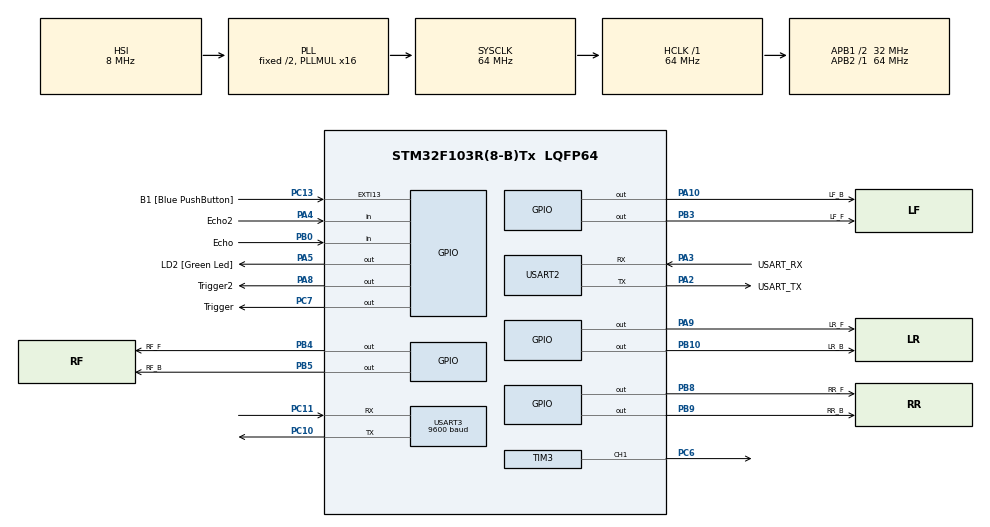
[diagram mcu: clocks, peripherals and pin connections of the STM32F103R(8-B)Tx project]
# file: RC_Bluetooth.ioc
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FREERTOS.Queues01=motorQueue,5,uint16_t,0,Dynamic,NULL,NULL
FREERTOS.Tasks01=UltrasonicTask,-2,128,StartUltrasonicTask,Default,NULL,Dynamic,NULL,NULL;BluetoothTask,1,128,StartBluetoothTask,Default,NULL,Dynamic,NULL,NULL;MotorTask,2,128,StartMotorTask,Default,NULL,Dynamic,NULL,NULL;MultiTask,-1,128,StartMultiTask,Default,NULL,Dynamic,NULL,NULL
Mcu.Family=STM32F1
Mcu.Name=STM32F103R(8-B)Tx
Mcu.Package=LQFP64
NVIC.EXTI15_10_IRQn=true\:5\:0\:false\:false\:true\:true\:true\:true\:true
NVIC.PriorityGroup=NVIC_PRIORITYGROUP_4
NVIC.USART2_IRQn=true\:5\:0\:false\:false\:true\:true\:true\:true\:true
NVIC.USART3_IRQn=true\:5\:0\:false\:false\:true\:true\:true\:true\:true
PA10.GPIO_Label=LF_B
PA10.Signal=GPIO_Output
PA13.GPIO_Label=TMS
PA13.Mode=Serial_Wire
PA13.Signal=SYS_JTMS-SWDIO
PA14.GPIO_Label=TCK
PA14.Mode=Serial_Wire
PA14.Signal=SYS_JTCK-SWCLK
PA2.GPIO_Label=USART_TX
PA2.GPIO_Mode=GPIO_MODE_AF_PP
PA2.GPIO_PuPd=GPIO_NOPULL
PA2.GPIO_Speed=GPIO_SPEED_FREQ_LOW
PA2.Mode=Asynchronous
PA2.Signal=USART2_TX
PA3.GPIO_Label=USART_RX
PA3.GPIO_Mode=GPIO_MODE_AF_PP
PA3.GPIO_PuPd=GPIO_NOPULL
PA3.GPIO_Speed=GPIO_SPEED_FREQ_LOW
PA3.Mode=Asynchronous
PA3.Signal=USART2_RX
PA4.GPIO_Label=Echo2
PA4.Signal=GPIO_Input
PA5.GPIO_Label=LD2 [Green Led]
PA5.GPIO_ModeDefaultOutputPP=GPIO_MODE_OUTPUT_PP
PA5.GPIO_PuPd=GPIO_NOPULL
PA5.GPIO_Speed=GPIO_SPEED_FREQ_LOW
PA5.Signal=GPIO_Output
PA8.GPIO_Label=Trigger2
PA8.Signal=GPIO_Output
PA9.GPIO_Label=LR_F
PA9.Signal=GPIO_Output
PB0.GPIO_Label=Echo
PB0.Signal=GPIO_Input
PB10.GPIO_Label=LR_B
PB10.Signal=GPIO_Output
PB3.GPIO_Label=LF_F
PB3.Signal=GPIO_Output
PB4.GPIO_Label=RF_F
PB4.Signal=GPIO_Output
PB5.GPIO_Label=RF_B
PB5.Signal=GPIO_Output
PB8.GPIO_Label=RR_F
PB8.Signal=GPIO_Output
PB9.GPIO_Label=RR_B
PB9.Signal=GPIO_Output
PC0.Signal=ADCx_IN10
PC10.Mode=Asynchronous
PC10.Signal=USART3_TX
PC11.Mode=Asynchronous
PC11.Signal=USART3_RX
PC13-TAMPER-RTC.GPIO_Label=B1 [Blue PushButton]
PC13-TAMPER-RTC.GPIO_PuPd=GPIO_NOPULL
PC13-TAMPER-RTC.Signal=GPXTI13
PC14-OSC32_IN.Signal=RCC_OSC32_IN
PC15-OSC32_OUT.Signal=RCC_OSC32_OUT
PC6.Signal=S_TIM3_CH1
PC7.GPIO_Label=Trigger
PC7.Signal=GPIO_Output
PD0-OSC_IN.Signal=RCC_OSC_IN
PD1-OSC_OUT.Signal=RCC_OSC_OUT
ProjectManager.HeapSize=0x200
ProjectManager.StackSize=0x400
ProjectManager.TargetToolchain=STM32CubeIDE
RCC.ADCPresc=RCC_ADCPCLK2_DIV6
RCC.AHBFreq_Value=64000000
RCC.APB1CLKDivider=RCC_HCLK_DIV2
RCC.APB1Freq_Value=32000000
RCC.APB1TimFreq_Value=64000000
RCC.APB2Freq_Value=64000000
RCC.APB2TimFreq_Value=64000000
RCC.DATA_CACHE_ENABLE=1
RCC.HCLKFreq_Value=64000000
RCC.INSTRUCTION_CACHE_ENABLE=1
RCC.LSE_Drive_CapabilityArg=+LSE_Drive_Capability
RCC.MSIAutoCalibration=DISABLED
RCC.MSICalibrationValue=0
RCC.PLLMUL=RCC_PLL_MUL16
RCC.PWR_Regulator_Voltage_Scale=PWR_REGULATOR_VOLTAGE_SCALE1
RCC.RTCClockSelection=RCC_RTCCLKSOURCE_LSE
RCC.SYSCLKFreq_VALUE=64000000
RCC.SYSCLKSource=RCC_SYSCLKSOURCE_PLLCLK
RCC.USBFreq_Value=64000000
SH.ADCx_IN10.0=ADC1_IN10
SH.S_TIM3_CH1.0=TIM3_CH1,PWM Generation1 CH1
TIM1.Period=65535
TIM1.Prescaler=64-1
TIM3.Channel-PWM\ Generation1\ CH1=TIM_CHANNEL_1
TIM3.Prescaler=64-1
USART2.VirtualMode=VM_ASYNC
USART3.BaudRate=9600
USART3.VirtualMode=VM_ASYNC
VP_FREERTOS_VS_CMSIS_V1.Mode=CMSIS_V1
VP_TIM1_VS_ClockSourceINT.Mode=Internal
VP_TIM3_VS_ClockSourceINT.Mode=Internal
board=NUCLEO-F103RB

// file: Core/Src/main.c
/* USER CODE BEGIN Header */
/**
 ******************************************************************************
 * @file           : main.c
 * @brief          : Main program body
 ******************************************************************************
 * @attention
 *
 * Copyright (c) 2025 STMicroelectronics.
 * All rights reserved.
 *
 * This software is licensed under terms that can be found in the LICENSE file
 * in the root directory of this software component.
 * If no LICENSE file comes with this software, it is provided AS-IS.
 *
 ******************************************************************************
 */
/* USER CODE END Header */
#include "main.h"
#include "cmsis_os.h"

/* USER CODE BEGIN Includes */
#include <stdio.h>
#include <string.h>
#include <stdlib.h>

/* USER CODE END Includes */

/* USER CODE BEGIN PTD */
typedef union {
    struct {
        uint8_t b;
        uint8_t r;
        uint8_t g;
    } color;
    uint32_t data;
} PixelRGB_t;
/* USER CODE END PTD */

/* USER CODE BEGIN PD */
#define MAX_DISTANCE 400 // HC-SR04의 유효 최대 거리 (cm)
#define MIN_DISTANCE 30 // 멈추는 거리

#define NOTE_F_freq  262 // 부저음 - 앞 c4
#define NOTE_B_freq  440    //뒤 A4
#define NOTE Duration 500

/* USER CODE END PD */

TIM_HandleTypeDef htim1;
TIM_HandleTypeDef htim3;

UART_HandleTypeDef huart2;
UART_HandleTypeDef huart3;

osThreadId UltrasonicTaskHandle;
osThreadId BluetoothTaskHandle;
osThreadId MotorTaskHandle;
osThreadId MultiTaskHandle;
osMessageQId motorQueueHandle;
/* USER CODE BEGIN PV */

// --- 전역 변수 ---
uint8_t rx3_data;
uint8_t rx2_data;
volatile char g_rx3_command = 'f';

volatile int g_final_dist_forward = 9999;
volatile int g_final_dist_back = 9999;
int obstacle_detected = 0;

/* USER CODE END PV */

void SystemClock_Config(void);
static void MX_GPIO_Init(void);
static void MX_USART2_UART_Init(void);
static void MX_TIM1_Init(void);
static void MX_USART3_UART_Init(void);
static void MX_TIM3_Init(void);
void StartUltrasonicTask(void const * argument);
void StartBluetoothTask(void const * argument);
void StartMotorTask(void const * argument);
void StartMultiTask(void const * argument);

/* USER CODE BEGIN 0 */
#ifdef __GNUC__
#define PUTCHAR_PROTOTYPE int __io_putchar(int ch)
#else
#define PUTCHAR_PROT0TYPE int fputc(int ch, FILE *f)
#endif
PUTCHAR_PROTOTYPE {
	if (ch == '\n')
		HAL_UART_Transmit(&huart2, (uint8_t*) "\r", 1, 0xFFFF);
	HAL_UART_Transmit(&huart2, (uint8_t*) &ch, 1, 0xFFFF);

	return ch;
}

void smartcar_forward() {
	HAL_GPIO_WritePin(RR_F_GPIO_Port, RR_F_Pin, 1);
	HAL_GPIO_WritePin(RR_B_GPIO_Port, RR_B_Pin, 0);
	HAL_GPIO_WritePin(RF_F_GPIO_Port, RF_F_Pin, 1);
	HAL_GPIO_WritePin(RF_B_GPIO_Port, RF_B_Pin, 0);
	HAL_GPIO_WritePin(LR_F_GPIO_Port, LR_F_Pin, 1);
	HAL_GPIO_WritePin(LR_B_GPIO_Port, LR_B_Pin, 0);
	HAL_GPIO_WritePin(LF_F_GPIO_Port, LF_F_Pin, 1);
	HAL_GPIO_WritePin(LF_B_GPIO_Port, LF_B_Pin, 0);
}

void smartcar_back() {
	HAL_GPIO_WritePin(RR_F_GPIO_Port, RR_F_Pin, 0);
	HAL_GPIO_WritePin(RR_B_GPIO_Port, RR_B_Pin, 1);
	HAL_GPIO_WritePin(RF_F_GPIO_Port, RF_F_Pin, 0);
	HAL_GPIO_WritePin(RF_B_GPIO_Port, RF_B_Pin, 1);
	HAL_GPIO_WritePin(LR_F_GPIO_Port, LR_F_Pin, 0);
	HAL_GPIO_WritePin(LR_B_GPIO_Port, LR_B_Pin, 1);
	HAL_GPIO_WritePin(LF_F_GPIO_Port, LF_F_Pin, 0);
	HAL_GPIO_WritePin(LF_B_GPIO_Port, LF_B_Pin, 1);
}

void smartcar_left() {
	HAL_GPIO_WritePin(RR_F_GPIO_Port, RR_F_Pin, 1);
	HAL_GPIO_WritePin(RR_B_GPIO_Port, RR_B_Pin, 0);
	HAL_GPIO_WritePin(RF_F_GPIO_Port, RF_F_Pin, 1);
	HAL_GPIO_WritePin(RF_B_GPIO_Port, RF_B_Pin, 0);
	HAL_GPIO_WritePin(LR_F_GPIO_Port, LR_F_Pin, 0);
	HAL_GPIO_WritePin(LR_B_GPIO_Port, LR_B_Pin, 1);
	HAL_GPIO_WritePin(LF_F_GPIO_Port, LF_F_Pin, 0);
	HAL_GPIO_WritePin(LF_B_GPIO_Port, LF_B_Pin, 1);
}

void smartcar_right() {
	HAL_GPIO_WritePin(RR_F_GPIO_Port, RR_F_Pin, 0);
	HAL_GPIO_WritePin(RR_B_GPIO_Port, RR_B_Pin, 1);
	HAL_GPIO_WritePin(RF_F_GPIO_Port, RF_F_Pin, 0);
	HAL_GPIO_WritePin(RF_B_GPIO_Port, RF_B_Pin, 1);
	HAL_GPIO_WritePin(LR_F_GPIO_Port, LR_F_Pin, 1);
	HAL_GPIO_WritePin(LR_B_GPIO_Port, LR_B_Pin, 0);
	HAL_GPIO_WritePin(LF_F_GPIO_Port, LF_F_Pin, 1);
	HAL_GPIO_WritePin(LF_B_GPIO_Port, LF_B_Pin, 0);
}

void smartcar_stop() {
	HAL_GPIO_WritePin(RR_F_GPIO_Port, RR_F_Pin, 0);
	HAL_GPIO_WritePin(RR_B_GPIO_Port, RR_B_Pin, 0);
	HAL_GPIO_WritePin(RF_F_GPIO_Port, RF_F_Pin, 0);
	HAL_GPIO_WritePin(RF_B_GPIO_Port, RF_B_Pin, 0);
	HAL_GPIO_WritePin(LR_F_GPIO_Port, LR_F_Pin, 0);
	HAL_GPIO_WritePin(LR_B_GPIO_Port, LR_B_Pin, 0);
	HAL_GPIO_WritePin(LF_F_GPIO_Port, LF_F_Pin, 0);
	HAL_GPIO_WritePin(LF_B_GPIO_Port, LF_B_Pin, 0);
}

// --- 초음파 센서 관련 함수들 ---
void delay_us(uint16_t us, TIM_HandleTypeDef *htim) {
	__HAL_TIM_SET_COUNTER(htim, 0);
	while ((__HAL_TIM_GET_COUNTER(htim)) < us);
}

void trig(GPIO_TypeDef *GPIO_Port, uint16_t GPIO_Pin, TIM_HandleTypeDef *htim) {
	HAL_GPIO_WritePin(GPIO_Port, GPIO_Pin, 1);
	delay_us(10, htim);
	HAL_GPIO_WritePin(GPIO_Port, GPIO_Pin, 0);
}

long unsigned int echo(GPIO_TypeDef *GPIO_Port, uint16_t GPIO_Pin,
		TIM_HandleTypeDef *htim) {
	long unsigned int echo_duration = 0;
	uint32_t start_time;
	uint32_t timeout = 30000;

	start_time = __HAL_TIM_GET_COUNTER(htim);
	while (HAL_GPIO_ReadPin(GPIO_Port, GPIO_Pin) == 0) {
		if (__HAL_TIM_GET_COUNTER(htim) - start_time > timeout) {
			return 0;
		}
	}
	__HAL_TIM_SET_COUNTER(htim, 0);
	while (HAL_GPIO_ReadPin(GPIO_Port, GPIO_Pin) == 1) {
		if (__HAL_TIM_GET_COUNTER(htim) > timeout) {
			return 0;
		}
	}
	echo_duration = __HAL_TIM_GET_COUNTER(htim);

	if (echo_duration >= 240 && echo_duration <= 23000)
		return echo_duration;
	else
		return 0;
}

/**
 * @brief 특정 주파수와 지속시간으로 톤 재생
 * @param frequency: 재생할 주파수 (Hz), 0이면 무음
 * @param duration: 재생 시간 (밀리초)
 */

void play_buzzer(uint16_t frequency, uint16_t duration){
	if(frequency == 0){
		HAL_TIM_PWM_Stop(&htim3, TIM_CHANNEL_1);
		return;
	}
	/** 주파수 계산:
	 * - TIM3는 APB1 버스에 연결되어 있습니다. (SystemClock_Config()에서 HCLK/2 = 32MHz)
	 * - MX_TIM3_Init()에서 Prescaler는 64-1 (즉, 63)로 설정되어 있습니다.
	 * - 타이머 카운터 클록 = 32,000,000 Hz / (63 + 1) = 500,000 Hz (0.5MHz)
	 * - ARR(주기) = (타이머 카운터 클록 / 원하는 주파수) - 1
	 */
	uint32_t arr_value = 1000000 / frequency - 1;

	__HAL_TIM_SET_AUTORELOAD(&htim3, arr_value);

	__HAL_TIM_SET_COMPARE(&htim3, TIM_CHANNEL_1 , arr_value / 2);

	HAL_TIM_PWM_Start(&htim3, TIM_CHANNEL_1);

	osDelay(duration);

	HAL_TIM_PWM_Stop(&htim3, TIM_CHANNEL_1);
}

void HAL_UART_RxCpltCallback(UART_HandleTypeDef *huart) {
	if (huart->Instance == USART3) {
		if (BluetoothTaskHandle != NULL) {
			g_rx3_command = rx3_data;

			vTaskNotifyGiveFromISR(BluetoothTaskHandle, NULL);
		}
		HAL_UART_Receive_IT(&huart3, &rx3_data, 1);
	}
}

/* USER CODE END 0 */

int main(void)
{

  /* MCU Configuration--------------------------------------------------------*/

  /* Reset of all peripherals, Initializes the Flash interface and the Systick. */
  HAL_Init();

  /* Configure the system clock */
  SystemClock_Config();

  /* Initialize all configured peripherals */
  MX_GPIO_Init();
  MX_USART2_UART_Init();
  MX_TIM1_Init();
  MX_USART3_UART_Init();
  MX_TIM3_Init();
  /* USER CODE BEGIN 2 */

	HAL_UART_Receive_IT(&huart3, &rx3_data, 1); // 블루투스
	HAL_UART_Receive_IT(&huart2, &rx2_data, 1);

	//초음파
	HAL_TIM_Base_Start(&htim1);

//	/* Calibrate ADC */
//	HAL_ADCEx_Calibration_Start(&hadc1);

  /* USER CODE END 2 */

  /* Create the queue(s) */
  /* definition and creation of motorQueue */
  osMessageQDef(motorQueue, 5, uint16_t);
  motorQueueHandle = osMessageCreate(osMessageQ(motorQueue), NULL);

  /* Create the thread(s) */
  /* definition and creation of UltrasonicTask */
  osThreadDef(UltrasonicTask, StartUltrasonicTask, osPriorityLow, 0, 128);
  UltrasonicTaskHandle = osThreadCreate(osThread(UltrasonicTask), NULL);

  /* definition and creation of BluetoothTask */
  osThreadDef(BluetoothTask, StartBluetoothTask, osPriorityAboveNormal, 0, 128);
  BluetoothTaskHandle = osThreadCreate(osThread(BluetoothTask), NULL);

  /* definition and creation of MotorTask */
  osThreadDef(MotorTask, StartMotorTask, osPriorityHigh, 0, 128);
  MotorTaskHandle = osThreadCreate(osThread(MotorTask), NULL);

  /* definition and creation of MultiTask */
  osThreadDef(MultiTask, StartMultiTask, osPriorityBelowNormal, 0, 128);
  MultiTaskHandle = osThreadCreate(osThread(MultiTask), NULL);

  /* Start scheduler */
  osKernelStart();

  /* We should never get here as control is now taken by the scheduler */

  /* Infinite loop */
	while (1)
  {
  }

}

void SystemClock_Config(void)
{
  RCC_OscInitTypeDef RCC_OscInitStruct = {0};
  RCC_ClkInitTypeDef RCC_ClkInitStruct = {0};

  /** Initializes the RCC Oscillators according to the specified parameters
  * in the RCC_OscInitTypeDef structure.
  */
  RCC_OscInitStruct.OscillatorType = RCC_OSCILLATORTYPE_HSI;
  RCC_OscInitStruct.HSIState = RCC_HSI_ON;
  RCC_OscInitStruct.HSICalibrationValue = RCC_HSICALIBRATION_DEFAULT;
  RCC_OscInitStruct.PLL.PLLState = RCC_PLL_ON;
  RCC_OscInitStruct.PLL.PLLSource = RCC_PLLSOURCE_HSI_DIV2;
  RCC_OscInitStruct.PLL.PLLMUL = RCC_PLL_MUL16;
  if (HAL_RCC_OscConfig(&RCC_OscInitStruct) != HAL_OK)
  {
    Error_Handler();
  }

  /** Initializes the CPU, AHB and APB buses clocks
  */
  RCC_ClkInitStruct.ClockType = RCC_CLOCKTYPE_HCLK|RCC_CLOCKTYPE_SYSCLK
                              |RCC_CLOCKTYPE_PCLK1|RCC_CLOCKTYPE_PCLK2;
  RCC_ClkInitStruct.SYSCLKSource = RCC_SYSCLKSOURCE_PLLCLK;
  RCC_ClkInitStruct.AHBCLKDivider = RCC_SYSCLK_DIV1;
  RCC_ClkInitStruct.APB1CLKDivider = RCC_HCLK_DIV2;
  RCC_ClkInitStruct.APB2CLKDivider = RCC_HCLK_DIV1;

  if (HAL_RCC_ClockConfig(&RCC_ClkInitStruct, FLASH_LATENCY_2) != HAL_OK)
  {
    Error_Handler();
  }
}

static void MX_TIM1_Init(void)
{

  TIM_ClockConfigTypeDef sClockSourceConfig = {0};
  TIM_MasterConfigTypeDef sMasterConfig = {0};

  htim1.Instance = TIM1;
  htim1.Init.Prescaler = 64-1;
  htim1.Init.CounterMode = TIM_COUNTERMODE_UP;
  htim1.Init.Period = 65535;
  htim1.Init.ClockDivision = TIM_CLOCKDIVISION_DIV1;
  htim1.Init.RepetitionCounter = 0;
  htim1.Init.AutoReloadPreload = TIM_AUTORELOAD_PRELOAD_DISABLE;
  if (HAL_TIM_Base_Init(&htim1) != HAL_OK)
  {
    Error_Handler();
  }
  sClockSourceConfig.ClockSource = TIM_CLOCKSOURCE_INTERNAL;
  if (HAL_TIM_ConfigClockSource(&htim1, &sClockSourceConfig) != HAL_OK)
  {
    Error_Handler();
  }
  sMasterConfig.MasterOutputTrigger = TIM_TRGO_RESET;
  sMasterConfig.MasterSlaveMode = TIM_MASTERSLAVEMODE_DISABLE;
  if (HAL_TIMEx_MasterConfigSynchronization(&htim1, &sMasterConfig) != HAL_OK)
  {
    Error_Handler();
  }

}

static void MX_TIM3_Init(void)
{

  TIM_ClockConfigTypeDef sClockSourceConfig = {0};
  TIM_MasterConfigTypeDef sMasterConfig = {0};
  TIM_OC_InitTypeDef sConfigOC = {0};

  htim3.Instance = TIM3;
  htim3.Init.Prescaler = 64-1;
  htim3.Init.CounterMode = TIM_COUNTERMODE_UP;
  htim3.Init.Period = 65535;
  htim3.Init.ClockDivision = TIM_CLOCKDIVISION_DIV1;
  htim3.Init.AutoReloadPreload = TIM_AUTORELOAD_PRELOAD_DISABLE;
  if (HAL_TIM_Base_Init(&htim3) != HAL_OK)
  {
    Error_Handler();
  }
  sClockSourceConfig.ClockSource = TIM_CLOCKSOURCE_INTERNAL;
  if (HAL_TIM_ConfigClockSource(&htim3, &sClockSourceConfig) != HAL_OK)
  {
    Error_Handler();
  }
  if (HAL_TIM_PWM_Init(&htim3) != HAL_OK)
  {
    Error_Handler();
  }
  sMasterConfig.MasterOutputTrigger = TIM_TRGO_RESET;
  sMasterConfig.MasterSlaveMode = TIM_MASTERSLAVEMODE_DISABLE;
  if (HAL_TIMEx_MasterConfigSynchronization(&htim3, &sMasterConfig) != HAL_OK)
  {
    Error_Handler();
  }
  sConfigOC.OCMode = TIM_OCMODE_PWM1;
  sConfigOC.Pulse = 0;
  sConfigOC.OCPolarity = TIM_OCPOLARITY_HIGH;
  sConfigOC.OCFastMode = TIM_OCFAST_DISABLE;
  if (HAL_TIM_PWM_ConfigChannel(&htim3, &sConfigOC, TIM_CHANNEL_1) != HAL_OK)
  {
    Error_Handler();
  }
  HAL_TIM_MspPostInit(&htim3);

}

static void MX_USART2_UART_Init(void)
{

  huart2.Instance = USART2;
  huart2.Init.BaudRate = 115200;
  huart2.Init.WordLength = UART_WORDLENGTH_8B;
  huart2.Init.StopBits = UART_STOPBITS_1;
  huart2.Init.Parity = UART_PARITY_NONE;
  huart2.Init.Mode = UART_MODE_TX_RX;
  huart2.Init.HwFlowCtl = UART_HWCONTROL_NONE;
  huart2.Init.OverSampling = UART_OVERSAMPLING_16;
  if (HAL_UART_Init(&huart2) != HAL_OK)
  {
    Error_Handler();
  }

}

static void MX_USART3_UART_Init(void)
{

  huart3.Instance = USART3;
  huart3.Init.BaudRate = 9600;
  huart3.Init.WordLength = UART_WORDLENGTH_8B;
  huart3.Init.StopBits = UART_STOPBITS_1;
  huart3.Init.Parity = UART_PARITY_NONE;
  huart3.Init.Mode = UART_MODE_TX_RX;
  huart3.Init.HwFlowCtl = UART_HWCONTROL_NONE;
  huart3.Init.OverSampling = UART_OVERSAMPLING_16;
  if (HAL_UART_Init(&huart3) != HAL_OK)
  {
    Error_Handler();
  }

}

static void MX_GPIO_Init(void)
{
  GPIO_InitTypeDef GPIO_InitStruct = {0};

  /* GPIO Ports Clock Enable */
  __HAL_RCC_GPIOC_CLK_ENABLE();
  __HAL_RCC_GPIOD_CLK_ENABLE();
  __HAL_RCC_GPIOA_CLK_ENABLE();
  __HAL_RCC_GPIOB_CLK_ENABLE();

  /*Configure GPIO pin Output Level */
  HAL_GPIO_WritePin(GPIOA, LD2_Pin|Trigger2_Pin|LR_F_Pin|LF_B_Pin, GPIO_PIN_RESET);

  /*Configure GPIO pin Output Level */
  HAL_GPIO_WritePin(GPIOB, LR_B_Pin|LF_F_Pin|RF_F_Pin|RF_B_Pin
                          |RR_F_Pin|RR_B_Pin, GPIO_PIN_RESET);

  /*Configure GPIO pin Output Level */
  HAL_GPIO_WritePin(Trigger_GPIO_Port, Trigger_Pin, GPIO_PIN_RESET);

  /*Configure GPIO pin : B1_Pin */
  GPIO_InitStruct.Pin = B1_Pin;
  GPIO_InitStruct.Mode = GPIO_MODE_IT_RISING;
  GPIO_InitStruct.Pull = GPIO_NOPULL;
  HAL_GPIO_Init(B1_GPIO_Port, &GPIO_InitStruct);

  /*Configure GPIO pin : PC0 */
  GPIO_InitStruct.Pin = GPIO_PIN_0;
  GPIO_InitStruct.Mode = GPIO_MODE_ANALOG;
  HAL_GPIO_Init(GPIOC, &GPIO_InitStruct);

  /*Configure GPIO pin : Echo2_Pin */
  GPIO_InitStruct.Pin = Echo2_Pin;
  GPIO_InitStruct.Mode = GPIO_MODE_INPUT;
  GPIO_InitStruct.Pull = GPIO_NOPULL;
  HAL_GPIO_Init(Echo2_GPIO_Port, &GPIO_InitStruct);

  /*Configure GPIO pins : LD2_Pin Trigger2_Pin LR_F_Pin LF_B_Pin */
  GPIO_InitStruct.Pin = LD2_Pin|Trigger2_Pin|LR_F_Pin|LF_B_Pin;
  GPIO_InitStruct.Mode = GPIO_MODE_OUTPUT_PP;
  GPIO_InitStruct.Pull = GPIO_NOPULL;
  GPIO_InitStruct.Speed = GPIO_SPEED_FREQ_LOW;
  HAL_GPIO_Init(GPIOA, &GPIO_InitStruct);

  /*Configure GPIO pin : Echo_Pin */
  GPIO_InitStruct.Pin = Echo_Pin;
  GPIO_InitStruct.Mode = GPIO_MODE_INPUT;
  GPIO_InitStruct.Pull = GPIO_NOPULL;
  HAL_GPIO_Init(Echo_GPIO_Port, &GPIO_InitStruct);

  /*Configure GPIO pins : LR_B_Pin LF_F_Pin RF_F_Pin RF_B_Pin
                           RR_F_Pin RR_B_Pin */
  GPIO_InitStruct.Pin = LR_B_Pin|LF_F_Pin|RF_F_Pin|RF_B_Pin
                          |RR_F_Pin|RR_B_Pin;
  GPIO_InitStruct.Mode = GPIO_MODE_OUTPUT_PP;
  GPIO_InitStruct.Pull = GPIO_NOPULL;
  GPIO_InitStruct.Speed = GPIO_SPEED_FREQ_LOW;
  HAL_GPIO_Init(GPIOB, &GPIO_InitStruct);

  /*Configure GPIO pin : Trigger_Pin */
  GPIO_InitStruct.Pin = Trigger_Pin;
  GPIO_InitStruct.Mode = GPIO_MODE_OUTPUT_PP;
  GPIO_InitStruct.Pull = GPIO_NOPULL;
  GPIO_InitStruct.Speed = GPIO_SPEED_FREQ_LOW;
  HAL_GPIO_Init(Trigger_GPIO_Port, &GPIO_InitStruct);

  /* EXTI interrupt init*/
  HAL_NVIC_SetPriority(EXTI15_10_IRQn, 5, 0);
  HAL_NVIC_EnableIRQ(EXTI15_10_IRQn);

}

void StartUltrasonicTask(void const * argument)
{
  /* USER CODE BEGIN 5 */

	uint8_t tx_buffer[6];
	for (;;) {
		// 1. 실제 초음파 센서로 거리를 측정합니다.
		trig(Trigger_GPIO_Port, Trigger_Pin, &htim1);
		long unsigned int echo_time_forward = echo(Echo_GPIO_Port, Echo_Pin, &htim1);

		trig(Trigger2_GPIO_Port, Trigger2_Pin, &htim1);
		long unsigned int echo_time_back = echo(Echo2_GPIO_Port, Echo2_Pin,	&htim1);

		int dist_forward = MAX_DISTANCE;
		int dist_back = MAX_DISTANCE;

		if (echo_time_forward > 0 && echo_time_forward < 23200 ) {
			dist_forward = echo_time_forward / 58; // us를 cm로 변환
		}
		if (echo_time_back > 0 && echo_time_back < 23200 ) {
			dist_back = echo_time_back / 58; // us를 cm로 변환
		}

		g_final_dist_forward = dist_forward;
		g_final_dist_back = dist_back;

		//printf("F: %d cm, B: %d cm\r\n", g_final_dist_forward, g_final_dist_back);

		tx_buffer[0] = 0x02; // SOP
		tx_buffer[1] = 'D';  // CMD
		tx_buffer[2] = (uint8_t) dist_forward; // DATA1 (255cm가 넘지 않으므로 uint8_t로 충분)
		tx_buffer[3] = (uint8_t) dist_back;  // DATA2
		// CHECKSUM: 간단하게 CMD, DATA1, DATA2를 더한 값의 하위 8비트 사용
		tx_buffer[4] = tx_buffer[1] + tx_buffer[2] + tx_buffer[3];
		tx_buffer[5] = 0x03; // EOP
		// huart3 (블루투스)를 통해 6바이트 패킷을 전송
		HAL_UART_Transmit(&huart3, tx_buffer, 6, 10);

		// 2. 거리를 기준으로 장애물 여부를 판단합니다.
		obstacle_detected = (g_final_dist_forward <= MIN_DISTANCE || g_final_dist_back <= MIN_DISTANCE);

		osDelay(100);
	}
  /* USER CODE END 5 */
}

void StartBluetoothTask(void const * argument)
{
  /* USER CODE BEGIN StartBluetoothTask */
	uint32_t command_to_send;
	/* Infinite loop */
	for (;;) {
		// 블루투스 데이터가 수신될 때까지 무한정 대기 (ISR이 알려줄 때까지 잠듦)
		ulTaskNotifyTake(pdTRUE, portMAX_DELAY);  // pd라는 접두사는 FreeRTOS 내부에서 사용하는 네이밍 규칙

		command_to_send = g_rx3_command;

		// 큐에 명령을 넣습니다.
		if (osMessagePut(motorQueueHandle, command_to_send, 10) == osOK) {
			//printf("BT cmd: %c -> Queue\n", (char)command_to_send);
		}
//		else {
//			//printf("Motor queue full!\n");
//		}
	}
  /* USER CODE END StartBluetoothTask */
}

void StartMotorTask(void const * argument)
{
  /* USER CODE BEGIN StartMotorTask */
	osEvent event;
	char command_received;
	/* Infinite loop */
	for (;;) {
		// 1. motorQueue에 데이터가 들어올 때까지 무한정 대기하며 잠듭니다.
		event = osMessageGet(motorQueueHandle, osWaitForever);

		// 2. 큐에서 메시지를 성공적으로 받으면, RTOS가 Task를 깨우고 아래 코드가 실행됩니다.
		if (event.status == osEventMessage) {
			command_received = (char)event.value.v;
			//printf("Motor Exec: %c\n", command_received);

			// 3. 받은 명령에 따라 모터를 제어합니다.
			switch(command_received){
			  case 'w': smartcar_forward(); break;
			  case 's': smartcar_back(); break;
			  case 'a': smartcar_left(); break;
			  case 'd': smartcar_right();break;
			  case 'f': smartcar_stop(); break;
			}
		}
	}
  /* USER CODE END StartMotorTask */
}

void StartMultiTask(void const * argument)
{
  /* USER CODE BEGIN StartMultiTask */
//	/* Infinite loop */
	for (;;) {
		if (obstacle_detected == 1) { //같이 돌리면아노딤  , 조도만하다가 멈춤 , 초음파에 쓰레기기값 들어와버림  왜 ? 40넘는것도들어옴 왜 ? min distance가 안먹히는듯

			if (g_final_dist_forward <= MIN_DISTANCE) {
				play_buzzer(262, 200);
				//osMessagePut(motorQueueHandle, (uint32_t) 'f', 0);
				//printf("f %d \n", g_final_dist_forward);
			} else if (g_final_dist_back <= MIN_DISTANCE) {
				play_buzzer(440, 200);
				//osMessagePut(motorQueueHandle, (uint32_t) 'f', 0);
				//printf("d %d \n", g_final_dist_back);
			}
			obstacle_detected = 0;
		}

		osDelay(50);
	}
  /* USER CODE END StartMultiTask */
}

void Error_Handler(void)
{
	__disable_irq();
	while (1)
	{
	}
}
